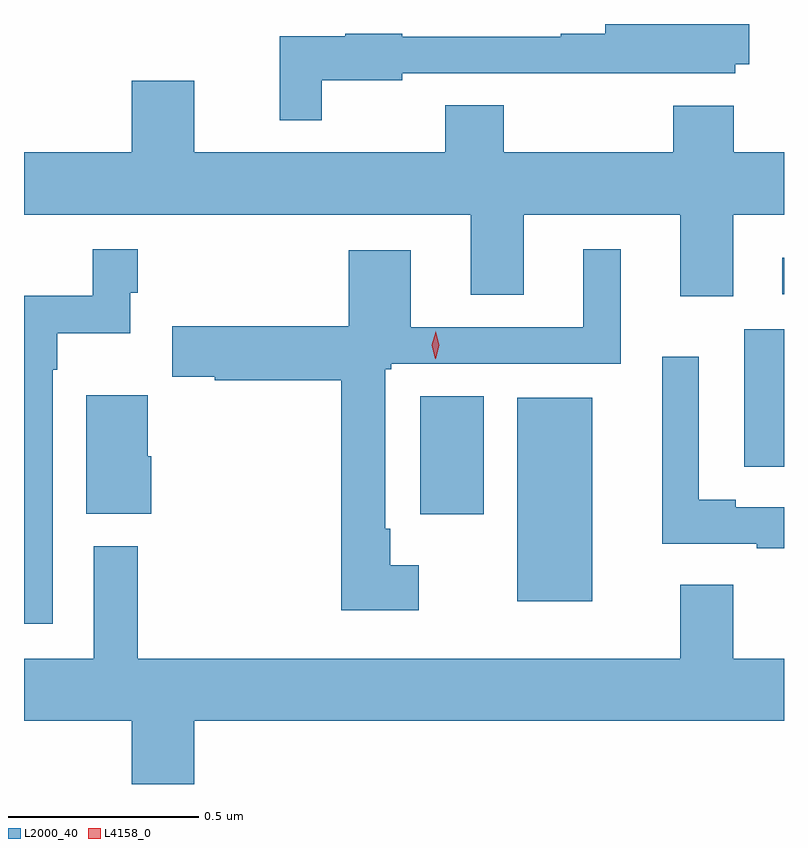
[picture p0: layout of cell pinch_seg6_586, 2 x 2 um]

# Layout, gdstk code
import gdstk
lib = gdstk.Library(unit=1e-6, precision=1e-09)
def R(c, l, rs):  # rectangles x0, y0, x1, y1
    for r in rs: c.add(gdstk.rectangle(r[:2], r[2:], *l))
def P(c, l, *ps):  # polygons
    for p in ps: c.add(gdstk.Polygon(p, *l))
L2000_40 = (2000, 40)
L4158_0 = (4158, 0)

pinch_seg6_586 = lib.new_cell('pinch_seg6_586')
R(pinch_seg6_586, L2000_40, [(585.602,962.303,585.799,962.839), (585.347,962.532,585.514,962.843), (586.199,962.657,586.304,963.019), (586.299,963.111,586.304,963.207)])
P(pinch_seg6_586, L2000_40, [(585.088,963.674),(585.3,963.674),(585.3,963.693),(585.837,963.693),(585.837,963.692),(586.176,963.692),(586.176,963.716),(586.213,963.716),(586.213,963.822),(585.833,963.822),(585.833,963.796),(585.717,963.796),(585.717,963.789),(585.3,963.789),(585.3,963.796),(585.15,963.796),(585.15,963.79),(584.977,963.79),(584.977,963.569),(585.088,963.569)],
  [(586.171,963.32),(586.304,963.32),(586.304,963.484),(586.172,963.484),(586.172,963.607),(586.012,963.607),(586.012,963.484),(585.567,963.484),(585.567,963.608),(585.412,963.608),(585.412,963.484),(584.752,963.484),(584.752,963.673),(584.588,963.673),(584.588,963.484),(584.304,963.484),(584.304,963.32),(585.479,963.32),(585.479,963.109),(585.619,963.109),(585.619,963.32),(586.031,963.32),(586.031,963.105),(586.171,963.105)],
  [(585.343,962.398),(585.268,962.398),(585.268,962.494),(585.255,962.494),(585.255,962.913),(585.27,962.913),(585.27,962.928),(585.874,962.928),(585.874,963.229),(585.776,963.229),(585.776,963.024),(585.322,963.024),(585.322,963.226),(585.158,963.226),(585.158,963.027),(584.694,963.027),(584.694,962.894),(584.806,962.894),(584.806,962.885),(585.139,962.885),(585.139,962.279),(585.343,962.279)],
  [(584.379,962.912),(584.392,962.912),(584.392,963.008),(584.583,963.008),(584.583,963.115),(584.603,963.115),(584.603,963.229),(584.485,963.229),(584.485,963.107),(584.304,963.107),(584.304,962.244),(584.379,962.244)],
  [(586.304,962.55),(586.177,962.55),(586.177,962.57),(586.08,962.57),(586.08,962.947),(585.983,962.947),(585.983,962.454),(586.232,962.454),(586.232,962.442),(586.304,962.442)],
  [(584.639,962.685),(584.629,962.685),(584.629,962.845),(584.468,962.845),(584.468,962.533),(584.639,962.533)],
  [(584.752,961.988),(586.304,961.988),(586.304,962.152),(586.171,962.152),(586.171,962.347),(586.031,962.347),(586.031,962.152),(584.603,962.152),(584.603,962.448),(584.487,962.448),(584.487,962.152),(584.304,962.152),(584.304,961.988),(584.588,961.988),(584.588,961.822),(584.752,961.822)])
P(pinch_seg6_586, L4158_0, [(585.386,962.941),(585.386,962.941),(585.377,962.977),(585.387,963.012),(585.387,963.013),(585.387,963.012),(585.397,962.977),(585.387,962.941)])

lib.write_gds('pinch_seg6_586.gds')
